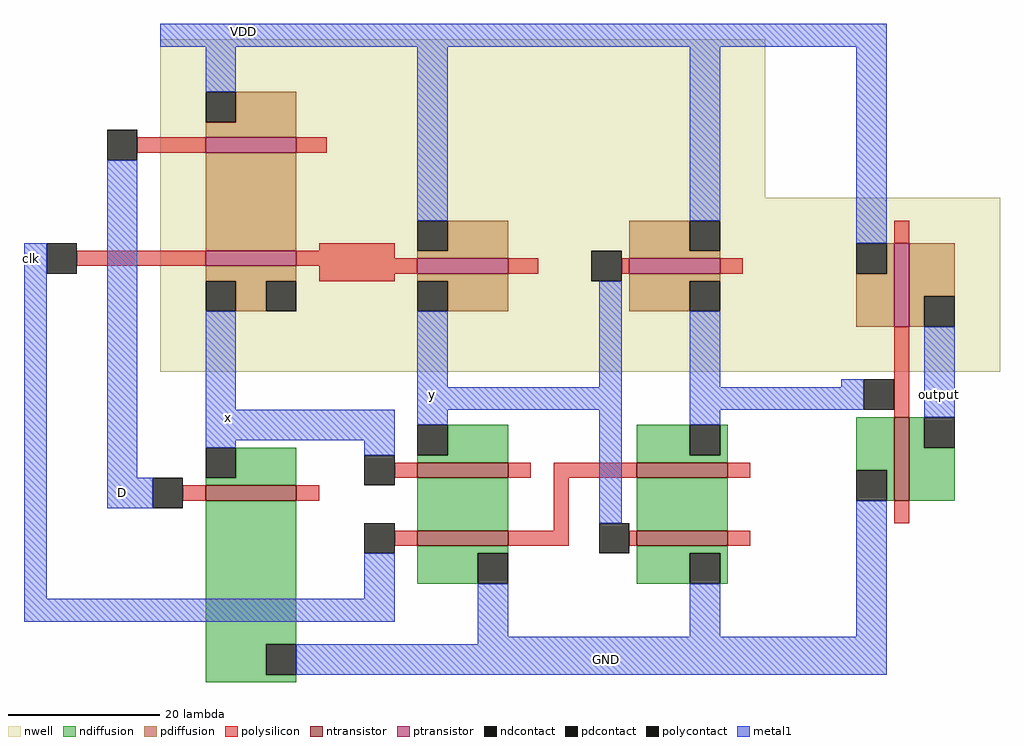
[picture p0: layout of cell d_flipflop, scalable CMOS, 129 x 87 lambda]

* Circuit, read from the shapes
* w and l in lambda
.subckt d_flipflop D GND VDD clk output x y
M1 x D GND VSUBS nfet w=12 l=2
M2 n1 clk GND VSUBS nfet w=12 l=2
M3 y x n1 VSUBS nfet w=12 l=2
M4 n2 y GND VSUBS nfet w=12 l=2
M5 n3 clk n2 VSUBS nfet w=12 l=2
M6 output n3 GND VSUBS nfet w=11 l=2
M7 n4 clk x n5 pfet w=12 l=2
M8 VDD D n4 n5 pfet w=12 l=2
M9 VDD clk y n5 pfet w=12 l=2
M10 VDD y n3 n5 pfet w=12 l=2
M11 output n3 VDD n5 pfet w=11 l=2
.ends

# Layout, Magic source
magic
tech scmos
<< nwell >>
rect -95 12 -15 33
rect -95 -11 16 12
<< ntransistor >>
rect -61 -25 -49 -23
rect -32 -25 -20 -23
rect -89 -28 -77 -26
rect -61 -34 -49 -32
rect 2 -28 4 -17
rect -32 -34 -20 -32
<< ptransistor >>
rect -89 18 -77 20
rect -89 3 -77 5
rect -61 2 -49 4
rect -33 2 -21 4
rect 2 -5 4 6
<< ndiffusion >>
rect -85 -25 -77 -21
rect -57 -22 -49 -18
rect -89 -26 -77 -25
rect -61 -23 -49 -22
rect -32 -22 -25 -18
rect -21 -22 -20 -18
rect -32 -23 -20 -22
rect -3 -24 2 -17
rect -89 -47 -77 -28
rect -61 -32 -49 -25
rect -61 -35 -49 -34
rect -32 -32 -20 -25
rect 1 -28 2 -24
rect 4 -21 6 -17
rect 4 -28 10 -21
rect -32 -35 -20 -34
rect -61 -39 -53 -35
rect -32 -39 -25 -35
rect -21 -39 -20 -35
rect -89 -51 -81 -47
rect -89 -52 -77 -51
<< pdiffusion >>
rect -85 22 -77 26
rect -89 20 -77 22
rect -89 5 -77 18
rect -57 5 -49 9
rect -33 5 -25 9
rect -61 4 -49 5
rect -89 1 -77 3
rect -61 1 -49 2
rect -33 4 -21 5
rect 1 2 2 6
rect -33 1 -21 2
rect -85 -3 -81 1
rect -57 -3 -49 1
rect -33 -3 -25 1
rect -3 -5 2 2
rect 4 -1 10 6
rect 4 -5 6 -1
<< ndcontact >>
rect -89 -25 -85 -21
rect -61 -22 -57 -18
rect -25 -22 -21 -18
rect -3 -28 1 -24
rect 6 -21 10 -17
rect -53 -39 -49 -35
rect -25 -39 -21 -35
rect -81 -51 -77 -47
<< pdcontact >>
rect -89 22 -85 26
rect -61 5 -57 9
rect -25 5 -21 9
rect -3 2 1 6
rect -89 -3 -85 1
rect -81 -3 -77 1
rect -61 -3 -57 1
rect -25 -3 -21 1
rect 6 -5 10 -1
<< polysilicon >>
rect -98 18 -89 20
rect -77 18 -73 20
rect -74 5 -64 6
rect -106 3 -89 5
rect -77 4 -64 5
rect 2 6 4 9
rect -77 3 -61 4
rect -74 2 -61 3
rect -49 2 -45 4
rect -74 1 -64 2
rect -34 2 -33 4
rect -21 2 -18 4
rect 2 -17 4 -5
rect -64 -25 -61 -23
rect -49 -25 -46 -23
rect -43 -25 -32 -23
rect -20 -25 -17 -23
rect -92 -28 -89 -26
rect -77 -28 -74 -26
rect -43 -32 -41 -25
rect -64 -34 -61 -32
rect -49 -34 -41 -32
rect 2 -31 4 -28
rect -33 -34 -32 -32
rect -20 -34 -17 -32
<< polycontact >>
rect -102 17 -98 21
rect -110 2 -106 6
rect -38 1 -34 5
rect -2 -16 2 -12
rect -96 -29 -92 -25
rect -68 -26 -64 -22
rect -68 -35 -64 -31
rect -37 -35 -33 -31
<< metal1 >>
rect -95 32 1 35
rect -89 26 -85 32
rect -113 -41 -110 6
rect -102 -25 -98 17
rect -61 9 -57 32
rect -25 9 -21 32
rect -3 6 1 32
rect -89 -16 -85 -3
rect -61 -13 -57 -3
rect -37 -13 -34 1
rect -61 -16 -34 -13
rect -89 -20 -64 -16
rect -89 -21 -85 -20
rect -68 -22 -64 -20
rect -61 -18 -57 -16
rect -102 -29 -96 -25
rect -37 -31 -34 -16
rect -25 -13 -21 -3
rect -5 -13 -2 -12
rect -25 -16 -2 -13
rect -25 -18 -21 -16
rect 6 -17 10 -5
rect -68 -41 -64 -35
rect -113 -44 -64 -41
rect -53 -46 -49 -39
rect -25 -46 -21 -39
rect -3 -46 1 -28
rect -53 -47 1 -46
rect -77 -51 1 -47
<< labels >>
rlabel metal1 8 -14 8 -14 1 output
rlabel metal1 -100 -27 -100 -27 3 D
rlabel metal1 -112 4 -112 4 3 clk
rlabel metal1 -84 34 -84 34 5 VDD
rlabel metal1 -36 -49 -36 -49 1 GND
rlabel metal1 -86 -17 -86 -17 1 x
rlabel metal1 -59 -14 -59 -14 1 y
<< end >>
